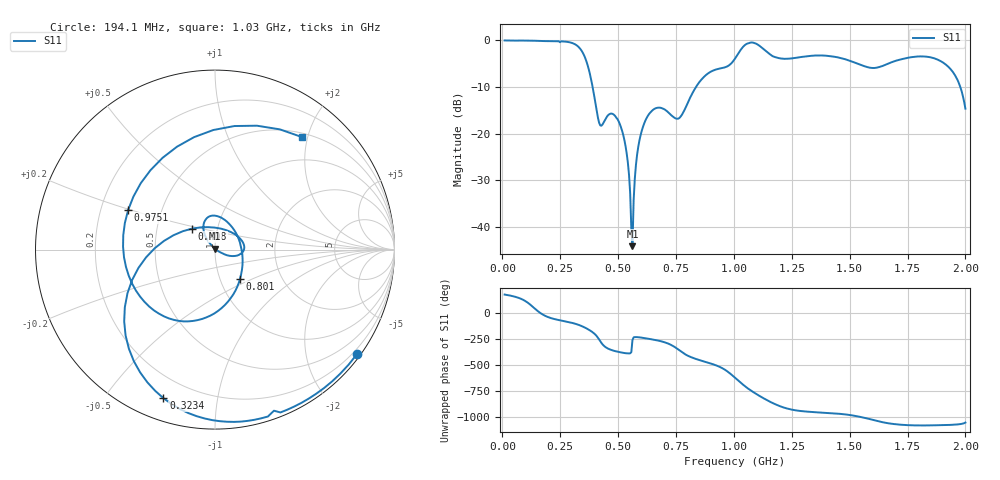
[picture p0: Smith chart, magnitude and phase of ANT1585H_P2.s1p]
!Created with skrf (http://scikit-rf.org).
# Hz S RI R 50.0
!freq ReS11 ImS11
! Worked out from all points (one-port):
!   401 points, 10 MHz to 2 GHz, reference 50 ohm
!   lowest |S11| = -44.2 dB at 562.2 MHz (marker M1), VSWR 1.01, Z = 49.9 + j0.605 ohm
!   |S11| at or under -10 dB: 390 MHz to 836.6 MHz (446.5 MHz wide, 72.8 % of centre); 1.978 GHz to end of sweep
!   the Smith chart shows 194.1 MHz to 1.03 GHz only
!   S11 on the Smith chart (normalised r, x): 194.1 MHz: 0.09, -3.04; 323.4 MHz: 0.10, -0.71; 408 MHz: 0.75, +0.18; 801 MHz: 1.25, -0.42; 975.1 MHz: 0.32, +0.20; 1.03 GHz: 0.57, +1.91
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1e7  -0.9958 0.0664
7.4675e7  -0.7732 0.6276
1.1945e8  0.1381 0.984
1.54275e8  0.9489 0.273
1.94075e8  0.7905 -0.583
2.5875e8  0.2568 -0.9401
3.23425e8  -0.2874 -0.8277
3.63225e8  -0.5024 -0.321
4.08e8  -0.1284 0.1167
5.075e8  0.122 -0.0336
5.32375e8  0.0662 -0.0312
5.62225e8  -0.00125 0.00607
5.871e8  -0.044 0.0567
6.21925e8  -0.0646 0.1294
7.5625e8  0.1386 0.0403
8.01025e8  0.1398 -0.1614
9.00525e8  -0.2574 -0.3832
9.7515e8  -0.4839 0.2208
1.005e9  -0.1168 0.6264
1.029875e9  0.4873 0.6259
1.0647e9  0.9224 -0.1419
1.11445e9  0.1656 -0.8448
1.169175e9  -0.5442 -0.3975
1.25375e9  -0.5732 0.29
1.5025e9  -0.1315 0.5869
1.75125e9  0.6464 0.0688
1.915425e9  0.5459 0.0671
2e9  0.1587 0.0953
